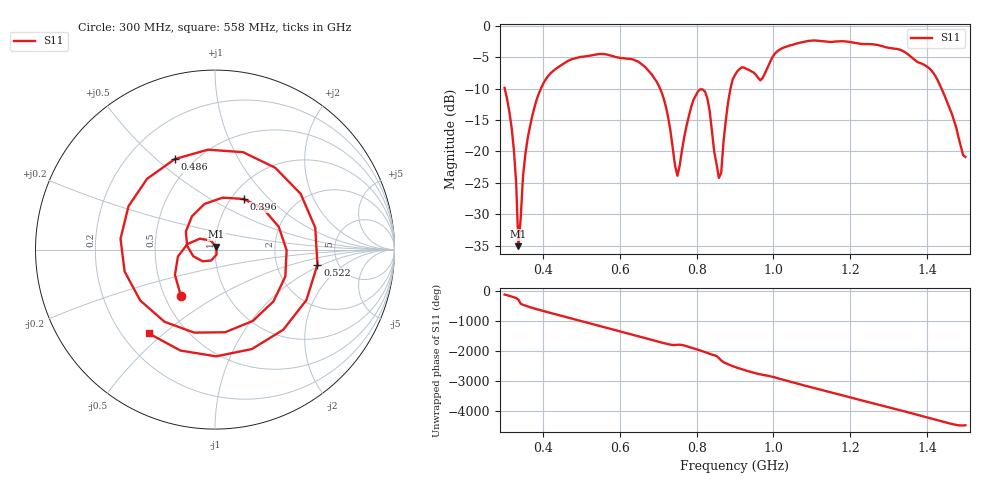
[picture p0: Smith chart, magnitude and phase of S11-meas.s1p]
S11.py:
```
import numpy as np
import pandas as pd
from pathlib import Path
import matplotlib.pyplot as plt
import skrf as rf
from math import pi
import matplotlib

# Set the font family and serif font
matplotlib.rcParams['font.family'] = 'serif'
matplotlib.rcParams['font.serif'] = 'Times New Roman'
matplotlib.rcParams['font.size'] = 14

#-----------------------------------------------------------------------
#-------------------- PLOTS from .txt ASCII simulations ----------------
#-----------------------------------------------------------------------

fig, ax1 = plt.subplots()

# import from .txt ASCII simulations
fileName = 'S11@0+S22@90.txt' #<<<<<<<<<<<<<<<<<<<<<<<<<<<<<<<<<<<<<<<<<<<<<<----------- HERE
filePath = Path().resolve() / 'Data' / fileName
raw = np.loadtxt(filePath, skiprows=2)
f = raw[:, 0]*1e3
S11 = raw[:, 1]

# plot simulated --------------  S11  -----------------
ax1.plot(f, S11, lw=3, ls='-', label='Simul.')

# import from .s1p measurement file
fileName = 'S11-meas.s1p' #<<<<<<<<<<<<<<<<<<<<<<<<<<<<<<<<<<<<<<<<<<<<<<----------- HERE
filePath = Path().resolve() / 'Data' / fileName
ntwk = rf.Network(filePath)
ntwk.frequency.f /= 1e6      # normalize frequencies
ntwk.plot_s_db(ax=ax1, lw=3, ls='-', label='Meas.')
# ax1.legend().set_visible(False)

ax1.set_xlabel('Frequency [MHz]')
ax1.set_ylabel('$S_{11}$ parameter [dB]')
# plt.ylim(-25, 1)

plt.legend()

plt.grid()
plt.xlim(600, 1100)
# save image
plt.savefig('S11-meas.png', bbox_inches='tight')
plt.show()
```
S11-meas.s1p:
#  HZ  S  DB  R  50.0
! Rohde & Schwarz ZVL
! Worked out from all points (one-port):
!   201 points, 300 MHz to 1.5 GHz, reference 50 ohm
!   lowest |S11| = -35.1 dB at 336 MHz (marker M1), VSWR 1.04, Z = 50.8 + j1.59 ohm
!   |S11| at or under -10 dB: 300.3 MHz to 394.6 MHz (94.22 MHz wide, 27.1 % of centre); 704.7 MHz to 888.3 MHz (183.6 MHz wide, 23.1 % of centre); 1.438 GHz to end of sweep
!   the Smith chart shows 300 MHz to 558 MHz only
!   S11 on the Smith chart (normalised r, x): 300 MHz: 0.61, -0.35; 396 MHz: 1.14, +0.72; 486 MHz: 0.40, +0.58; 522 MHz: 3.49, -0.88; 558 MHz: 0.31, -0.45
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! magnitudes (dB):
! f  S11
! 300 MHz  -9.9
! 336 MHz  -35.1
! 396 MHz  -9.8
! 486 MHz  -5.2
! 522 MHz  -4.8
! 558 MHz  -4.5
! 702 MHz  -9.6
! 750 MHz  -23.9
! 822 MHz  -10.5
! 858 MHz  -24.2
! 906 MHz  -7.3
! 1.104 GHz  -2.4
! 1.404 GHz  -6.7
! 1.5 GHz  -20.9
